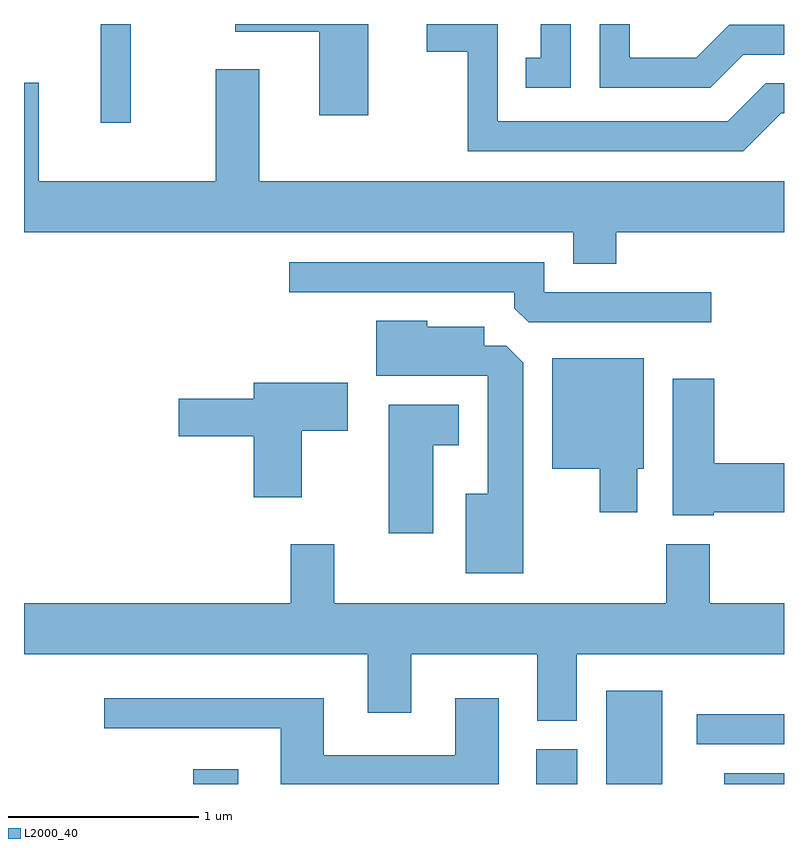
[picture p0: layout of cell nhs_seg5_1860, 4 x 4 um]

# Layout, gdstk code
import gdstk
lib = gdstk.Library(unit=1e-6, precision=1e-09)
def R(c, l, rs):  # rectangles x0, y0, x1, y1
    for r in rs: c.add(gdstk.rectangle(r[:2], r[2:], *l))
def P(c, l, *ps):  # polygons
    for p in ps: c.add(gdstk.Polygon(p, *l))
L2000_40 = (2000, 40)

nhs_seg5_1860 = lib.new_cell('nhs_seg5_1860')
R(nhs_seg5_1860, L2000_40, [(240.501,1496.072,240.738,1496.149), (242.306,1496.072,242.524,1496.254), (242.676,1496.072,242.969,1496.564), (243.296,1496.072,243.611,1496.129), (243.153,1496.281,243.611,1496.439), (240.016,1499.553,240.174,1500.072)])
P(nhs_seg5_1860, L2000_40, [(243.397,1499.911),(243.611,1499.911),(243.611,1500.069),(243.324,1500.069),(243.149,1499.894),(242.799,1499.894),(242.799,1500.072),(242.641,1500.072),(242.641,1499.736),(243.222,1499.736)],
  [(242.489,1500.072),(242.331,1500.072),(242.331,1499.894),(242.253,1499.894),(242.253,1499.736),(242.489,1499.736)],
  [(241.424,1500.072),(240.723,1500.072),(240.723,1500.031),(241.166,1500.031),(241.166,1499.591),(241.424,1499.591)],
  [(243.597,1499.601),(243.611,1499.601),(243.611,1499.759),(243.514,1499.759),(243.314,1499.559),(242.104,1499.559),(242.104,1500.072),(241.731,1500.072),(241.731,1499.926),(241.946,1499.926),(241.946,1499.401),(243.397,1499.401)],
  [(242.729,1498.976),(243.611,1498.976),(243.611,1499.244),(240.849,1499.244),(240.849,1499.834),(240.621,1499.834),(240.621,1499.244),(239.689,1499.244),(239.689,1499.764),(239.611,1499.764),(239.611,1498.976),(242.501,1498.976),(242.501,1498.811),(242.729,1498.811)],
  [(243.228,1498.659),(242.349,1498.659),(242.349,1498.819),(241.008,1498.819),(241.008,1498.661),(242.191,1498.661),(242.191,1498.577),(242.267,1498.501),(243.228,1498.501)],
  [(242.239,1498.289),(242.149,1498.379),(242.034,1498.379),(242.034,1498.479),(241.734,1498.479),(241.734,1498.509),(241.466,1498.509),(241.466,1498.221),(242.051,1498.221),(242.051,1497.599),(241.936,1497.599),(241.936,1497.181),(242.239,1497.181)],
  [(242.839,1497.731),(242.874,1497.731),(242.874,1498.314),(242.391,1498.314),(242.391,1497.731),(242.641,1497.731),(242.641,1497.501),(242.839,1497.501)],
  [(243.24,1497.501),(243.611,1497.501),(243.611,1497.759),(243.244,1497.759),(243.244,1498.204),(243.026,1498.204),(243.026,1497.486),(243.24,1497.486)],
  [(241.074,1497.931),(241.314,1497.931),(241.314,1498.184),(240.821,1498.184),(240.821,1498.099),(240.426,1498.099),(240.426,1497.901),(240.821,1497.901),(240.821,1497.581),(241.074,1497.581)],
  [(241.764,1497.856),(241.899,1497.856),(241.899,1498.069),(241.531,1498.069),(241.531,1497.391),(241.764,1497.391)],
  [(242.519,1496.756),(243.611,1496.756),(243.611,1497.024),(243.219,1497.024),(243.219,1497.334),(242.991,1497.334),(242.991,1497.024),(241.244,1497.024),(241.244,1497.334),(241.016,1497.334),(241.016,1497.024),(239.611,1497.024),(239.611,1496.756),(241.421,1496.756),(241.421,1496.446),(241.649,1496.446),(241.649,1496.756),(242.311,1496.756),(242.311,1496.406),(242.519,1496.406)],
  [(242.109,1496.524),(241.881,1496.524),(241.881,1496.224),(241.189,1496.224),(241.189,1496.524),(240.033,1496.524),(240.033,1496.366),(240.961,1496.366),(240.961,1496.072),(242.109,1496.072)])

lib.write_gds('nhs_seg5_1860.gds')
